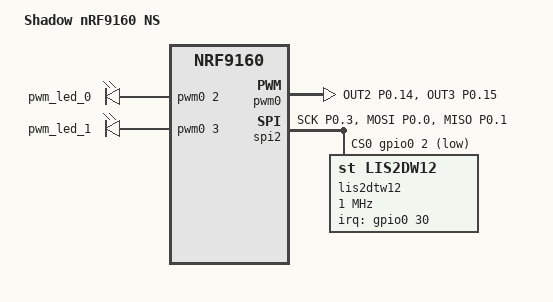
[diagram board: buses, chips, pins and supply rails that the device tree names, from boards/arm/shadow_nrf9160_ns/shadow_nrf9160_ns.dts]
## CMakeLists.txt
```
#
# Copyright (c) 2024 Nordic Semiconductor ASA
#
# SPDX-License-Identifier: LicenseRef-Nordic-5-Clause
#

cmake_minimum_required(VERSION 3.20.0)

find_package(Zephyr REQUIRED HINTS $ENV{ZEPHYR_BASE})
project("Ninja")

zephyr_cc_option(-Wno-main)

zephyr_include_directories(src/common)

target_sources(app PRIVATE src/main.c src/common/module_state.c src/common/heartbeat.c src/common/utils.c)

add_subdirectory(src/personalities)
add_subdirectory(src/modules/network)

# Optional modules
add_subdirectory_ifdef(CONFIG_APP_ENVIRONMENTAL src/modules/environmental)
add_subdirectory_ifdef(CONFIG_APP_MOTION src/modules/motion)
add_subdirectory_ifdef(CONFIG_APP_LED src/modules/led)
add_subdirectory_ifdef(CONFIG_LOCATION src/modules/location)
add_subdirectory_ifdef(CONFIG_APP_CLOUD_POST src/modules/cloud_post)
add_subdirectory_ifdef(CONFIG_APP_LOCATION_CLOUD src/modules/location_cloud)
```

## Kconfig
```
#
# Copyright (c) 2024 Nordic Semiconductor ASA
#
# SPDX-License-Identifier: LicenseRef-Nordic-5-Clause
#

menu "Asset Tracker Template"

rsource "src/Kconfig.main"
rsource "src/modules/network/Kconfig.network"
rsource "src/modules/location/Kconfig.location"
rsource "src/modules/led/Kconfig.led"
rsource "src/modules/environmental/Kconfig.environmental"
rsource "src/modules/motion/Kconfig.motion"
rsource "src/modules/cloud_post/Kconfig.cloud_post"
rsource "src/modules/location_cloud/Kconfig.location_cloud"

endmenu

menu "Zephyr Kernel"
source "Kconfig.zephyr"
endmenu
```

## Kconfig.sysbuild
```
#
# Copyright (c) 2025 Nordic Semiconductor ASA
#
# SPDX-License-Identifier: LicenseRef-Nordic-5-Clause
#

choice BOOTLOADER
	default BOOTLOADER_MCUBOOT if !BOARD_NATIVE_SIM && !BOARD_THINGY91_NRF9160_NS && !BOARD_SHADOW_NRF9160_NS
endchoice

# Skip the board's own MCUboot default (see thingy91/Kconfig.sysbuild) so the
# choice above falls through to BOOTLOADER_NONE for this target: no OTA, no
# swap slots, application runs directly after TF-M.
config THINGY91_NO_PREDEFINED_LAYOUT
	bool
	default y if BOARD_THINGY91_NRF9160_NS

config SECURE_BOOT_APPCORE
	default y if BOARD_NRF9151DK_NRF9151_NS

# Shared NSIB (b0) signing key for all ATT sysbuild targets. Sysbuild signs images with this
# key; b0 verifies them. Without this, sysbuild autogenerates a new debug key on each pristine
# build. Not for production.
config SECURE_BOOT_SIGNING_KEY_FILE
	default "$(ZEPHYR_NRF_MODULE_DIR)/boards/nordic/thingy91x/nsib_signing_key.pem" if SECURE_BOOT_APPCORE

config WIFI_NRF70
	default y if BOARD_THINGY91X_NRF9151_NS

choice WIFI_NRF70_OPER_MODES
	default WIFI_NRF70_SCAN_ONLY if BOARD_THINGY91X_NRF9151_NS
endchoice

config PARTITION_MANAGER
	default n

source "${ZEPHYR_BASE}/share/sysbuild/Kconfig"
```

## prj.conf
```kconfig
#
# Copyright (c) 2024 Nordic Semiconductor ASA
#
# SPDX-License-Identifier: LicenseRef-Nordic-5-Clause
#

CONFIG_APP_PERSONALITY_LOCATION_TEST=y
# CONFIG_APP_PERSONALITY_LOW_POWER_TEST=y
# CONFIG_APP_PERSONALITY_REPORTING=y
# CONFIG_APP_PERSONALITY_EMPTY=y

CONFIG_NCS_APPLICATION_BOOT_BANNER_STRING="Ninja"
CONFIG_NCS_SAMPLES_DEFAULTS=y
CONFIG_WARN_EXPERIMENTAL=n
CONFIG_RESET_ON_FATAL_ERROR=y
CONFIG_LOG_MODE_DEFERRED=y
CONFIG_LOG_BUFFER_SIZE=2048
CONFIG_LOG_PROCESS_THREAD_STACK_SIZE=1280
CONFIG_ZVFS_OPEN_MAX=20
CONFIG_PWM=y

# TF-M - Crypto is offloaded to the modem so the minimal profile is sufficient.
CONFIG_TFM_PROFILE_TYPE_MINIMAL=y
# Use CryptoCell hardware accelerator for PSA crypto operations.
CONFIG_PSA_CRYPTO_DRIVER_CC3XX=y
# Set these options to make TF-M fit within the allocated TF-M flash and RAM partitions.
CONFIG_TFM_PSA_FRAMEWORK_HAS_MM_IOVEC=y
CONFIG_PSA_WANT_ALG_CTR_DRBG=y

# TFM logging over uart0
CONFIG_TFM_LOG_LEVEL_SILENCE=y
# CONFIG_TFM_SECURE_UART0=n
# CONFIG_TFM_SECURE_UART_SHARE_INSTANCE=y
CONFIG_TFM_EXCEPTION_INFO_DUMP=y
# CONFIG_TFM_SPM_LOG_LEVEL_DEBUG=y

# Heap and stacks
CONFIG_MAIN_STACK_SIZE=2560
CONFIG_AT_MONITOR_HEAP_SIZE=2176
CONFIG_HEAP_MEM_POOL_SIZE=12288
CONFIG_HEAP_MEM_POOL_IGNORE_MIN=y
CONFIG_SYSTEM_WORKQUEUE_STACK_SIZE=1408

# Enable Networking
CONFIG_NETWORKING=y
CONFIG_NET_SOCKETS=y
CONFIG_NET_IPV4=y

# Enable Link Controller modules
CONFIG_LTE_LINK_CONTROL=y
CONFIG_LTE_LC_PDN_MODULE=y
CONFIG_LTE_LC_PSM_MODULE=y

# Modem library shared memory buffers
CONFIG_NRF_MODEM_LIB_SHMEM_TX_SIZE=4096
CONFIG_NRF_MODEM_LIB_SHMEM_RX_SIZE=4096

# Enable PSM (Power Saving Mode)
# CONFIG_LTE_LC_WORKQUEUE_STACK_SIZE=896
# CONFIG_LTE_PSM_REQ=y
# CONFIG_LTE_PROPRIETARY_PSM_REQ=y
# CONFIG_LTE_PSM_REQ_FORMAT_SECONDS=y
# Set Requested TAU to a large value. If the network does not support this value,
# it will typically use the largest supported value. This value should be larger
# than the default update interval (1 hour).
# CONFIG_LTE_PSM_REQ_RPTAU_SECONDS=7200

# Set the PSM Requested Active Time to a low number. Since we are constantly polling for
# downlink data, there is no need for prolonged active paging after the RRC connection release.
CONFIG_LTE_PSM_REQ_RAT_SECONDS=6

# Modem library
CONFIG_NRF_MODEM_LIB=y
CONFIG_MODEM_BATTERY=y
CONFIG_MODEM_INFO=y

CONFIG_HW_ID_LIBRARY=y
CONFIG_HW_ID_LIBRARY_SOURCE_DEVICE_ID=y

CONFIG_DATE_TIME=y
CONFIG_DATE_TIME_LOG_LEVEL_ERR=y

CONFIG_SETTINGS=y
CONFIG_SPI_NRFX_RAM_BUFFER_SIZE=32

# Needed for processing floats
CONFIG_PICOLIBC=y
CONFIG_FPU=y

# Zbus
CONFIG_ZBUS=y
CONFIG_ZBUS_MSG_SUBSCRIBER=y
CONFIG_ZBUS_MSG_SUBSCRIBER_NET_BUF_POOL_SIZE=64
CONFIG_ZBUS_CHANNEL_NAME=y

# Zephyr State Machine Framework
CONFIG_SMF=y
CONFIG_SMF_ANCESTOR_SUPPORT=y
CONFIG_SMF_INITIAL_TRANSITION=y

# Location
CONFIG_LOCATION=y
CONFIG_LOCATION_DATA_DETAILS=y
CONFIG_LOCATION_METHOD_GNSS=y
CONFIG_LOCATION_METHOD_CELLULAR=y
CONFIG_NRF_CLOUD=y
CONFIG_NRF_CLOUD_AGNSS=y
CONFIG_MODEM_INFO_ADD_NETWORK=y
CONFIG_LOCATION_SERVICE_EXTERNAL=y
CONFIG_LOCATION_REQUEST_DEFAULT_GNSS_TIMEOUT=600000
# CONFIG_LOCATION_REQUEST_DEFAULT_CELLULAR_TIMEOUT=30000
CONFIG_LOCATION_REQUEST_DEFAULT_TIMEOUT=600000
# CONFIG_LOCATION_REQUEST_DEFAULT_CELLULAR_CELL_COUNT=3
# CONFIG_LOCATION_REQUEST_DEFAULT_GNSS_ACCURACY_LOW=y
# CONFIG_LOCATION_REQUEST_DEFAULT_GNSS_VISIBILITY_DETECTION=y
# CONFIG_LTE_NETWORK_MODE_LTE_M_NBIOT_GPS=y
# CONFIG_LTE_NEIGHBOR_CELLS_MAX=8

# Extra Logging
CONFIG_APP_NETWORK_LOG_LEVEL_INF=y
CONFIG_APP_LOG_LEVEL_DBG=y
CONFIG_APP_CLOUD_POST_LOG_LEVEL_DBG=y
CONFIG_REST_CLIENT_LOG_LEVEL_OFF=y
# utils logging controlled via CONFIG_APP_LOG_LEVEL

# Task Watchdog
CONFIG_TASK_WDT=y
CONFIG_TASK_WDT_CHANNELS=8
CONFIG_TASK_WDT_MIN_TIMEOUT=10000

# System power management
CONFIG_PM=n

# Device power management
CONFIG_PM_DEVICE=y
CONFIG_PM_DEVICE_RUNTIME=y

CONFIG_APP_CLOUD_POST=y
CONFIG_APP_LOCATION_CLOUD=y
CONFIG_REST_CLIENT=y

# Managing LTE connection on demand
CONFIG_APP_NETWORK_SEARCH_NETWORK_ON_STARTUP=n
```

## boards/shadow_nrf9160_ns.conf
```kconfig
#
# Copyright (c) 2026 Nordic Semiconductor ASA
#
# SPDX-License-Identifier: LicenseRef-Nordic-5-Clause
#

# LIS2DTW12 accelerometer + temperature sensor on SPI2
# Temperature is read by the motion module instead of the environmental (BME680) module
CONFIG_SPI=y
CONFIG_SENSOR=y
CONFIG_APP_MOTION=y
CONFIG_LIS2DW12=y
CONFIG_APP_ENVIRONMENTAL=n

# LED module (PWM LEDs)
CONFIG_APP_LED=y

CONFIG_USE_SEGGER_RTT=y
CONFIG_CONSOLE=y
CONFIG_RTT_CONSOLE=y
# Place RTT control block in the dedicated SRAM_RTT region at 0x2000c568
CONFIG_SEGGER_RTT_SECTION_CUSTOM_DTS_REGION=y

# No MCUboot — direct boot from flash
CONFIG_BOOTLOADER_MCUBOOT=n

# App (non-secure) runs from slot0_ns_partition
CONFIG_FLASH_LOAD_OFFSET=0x10000
CONFIG_FLASH_LOAD_SIZE=0xee000

# Configure COEX0 for GNSS/LTE coexistence
# GNSS antenna is shared with LTE, LNA EN connected to COEX0
# Modem antenna library sends AT%XCOEX0 automatically after modem init
CONFIG_MODEM_ANTENNA=y
CONFIG_MODEM_ANTENNA_GNSS_ONBOARD=y
CONFIG_MODEM_ANTENNA_AT_COEX0="AT%XCOEX0=1,1,1570,1580"
```

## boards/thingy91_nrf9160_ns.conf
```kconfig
#
# Copyright (c) 2026 Nordic Semiconductor ASA
#
# SPDX-License-Identifier: LicenseRef-Nordic-5-Clause
#

# Environmental module (BME680 on I2C2)
CONFIG_APP_ENVIRONMENTAL=y
CONFIG_BME680=y
CONFIG_SENSOR=y

# LED module (RGB LED via PWM)
CONFIG_APP_LED=y

CONFIG_USE_SEGGER_RTT=y
CONFIG_CONSOLE=y
CONFIG_RTT_CONSOLE=y
# Place RTT control block in the dedicated SRAM_RTT region at 0x2000c568
# (locked address — avoids J-Link auto-detection failures on nRF91)
CONFIG_SEGGER_RTT_SECTION_CUSTOM_DTS_REGION=y

# No MCUboot — direct boot from flash
CONFIG_BOOTLOADER_MCUBOOT=n

# App (non-secure) runs from slot0_ns_partition: see boards overlay for layout
CONFIG_FLASH_LOAD_OFFSET=0x10000
CONFIG_FLASH_LOAD_SIZE=0xee000

CONFIG_APP_ENVIRONMENTAL_LOG_LEVEL_DBG=y
CONFIG_APP_SAMPLING_INTERVAL_SECONDS=1800
```

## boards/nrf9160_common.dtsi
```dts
/*
 * Copyright (c) 2026 Nordic Semiconductor ASA
 *
 * SPDX-License-Identifier: LicenseRef-Nordic-5-Clause
 */

/*
 * Common flash layout (no MCUboot / no OTA) for nRF9160-based boards.
 *
 * New layout (1 MiB):
 *   0x0000_0000  TF-M secure image      ( 64 kB, SPU-region aligned)
 *   0x0001_0000  Application (non-secure) image  (952 kB)
 *   0x000f_e000  Settings storage       (  8 kB)
 *
 * The S/NS boundary must align to the nRF9160 SPU region size (32 kB), so
 * the secure region is rounded up from TF-M's ~47.5 kB footprint to 64 kB.
 *
 * NOTE: Boards that inherit from an existing board dts with pre-defined
 * partitions must delete the old partition nodes BEFORE #include'ing this file.
 */
&flash0 {
	partitions {
		#address-cells = <1>;
		#size-cells = <1>;
		ranges;

		slot0_partition: partition@0 {
			compatible = "zephyr,mapped-partition";
			label = "image-0";
			reg = <0x00000000 0xfe000>;
			ranges = <0x0 0x00000000 0xfe000>;
			#address-cells = <1>;
			#size-cells = <1>;

			slot0_s_partition: partition@0 {
				compatible = "zephyr,mapped-partition";
				label = "image-0-secure";
				reg = <0x00000000 0x10000>;
			};

			slot0_ns_partition: partition@10000 {
				compatible = "zephyr,mapped-partition";
				label = "image-0-nonsecure";
				reg = <0x00010000 0xee000>;
			};
		};

		storage_partition: partition@fe000 {
			compatible = "zephyr,mapped-partition";
			label = "storage";
			reg = <0x000fe000 0x2000>;
		};
	};
};
```

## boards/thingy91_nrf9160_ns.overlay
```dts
/*
 * Copyright (c) 2026 Nordic Semiconductor ASA
 *
 * SPDX-License-Identifier: LicenseRef-Nordic-5-Clause
 */

/*
 * Delete the MCUboot/DFU partitions inherited from the thingy91 board
 * definition before installing the common no-MCUboot layout.
 */
/delete-node/ &boot_partition;
/delete-node/ &slot0_partition;
/delete-node/ &slot1_partition;
/delete-node/ &scratch_partition;

#include "nrf9160_common.dtsi"

/*
 * Carve out 2 KiB at the start of the application SRAM for the SEGGER RTT
 * control block and buffers at a fixed, known address (0x2000c568).
 * The RTT section is placed there via CONFIG_SEGGER_RTT_SECTION_CUSTOM_DTS_REGION
 * and the rtt_custom_section alias below.
 */
/delete-node/ &sram0_ns_app;

&sram0_ns {
	sram0_ns_app: sram0_ns@4d68 {
		reg = <0x4d68 0x33298>;
	};
};

/ {
	chosen {
		nordic,modem-trace-uart = &uart1;
	};

	rtt_sram: sram@2000c568 {
		compatible = "zephyr,memory-region", "mmio-sram";
		reg = <0x2000c568 0x800>;
		zephyr,memory-region = "SRAM_RTT";
	};

	aliases {
		rtt-custom-section = &rtt_sram;
	};
};

&bme680 {
	status = "okay";
};
```

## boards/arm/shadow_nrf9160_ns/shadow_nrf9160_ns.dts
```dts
/*
 * Copyright (c) 2026 Nordic Semiconductor ASA
 *
 * SPDX-License-Identifier: LicenseRef-Nordic-5-Clause
 */

/dts-v1/;
#include <arm/nordic/nrf9160_ns_sica.dtsi>
#include <common/nordic/nrf91_partition_sram.dtsi>
#include "../../nrf9160_common.dtsi"

/*
 * Carve out 2 KiB at the start of the application SRAM for the SEGGER RTT
 * control block and buffers at a fixed, known address (0x2000c568).
 */
/delete-node/ &sram0_ns_app;

&sram0_ns {
	sram0_ns_app: sram0_ns@4d68 {
		reg = <0x4d68 0x33298>;
	};
};

/ {
	model = "Shadow nRF9160 NS";
	compatible = "shadow,nrf9160-ns";

	chosen {
		zephyr,flash = &flash0;
		zephyr,sram = &sram0_ns_app;
		zephyr,code-partition = &slot0_ns_partition;
	};

	rtt_sram: sram@2000c568 {
		compatible = "zephyr,memory-region", "mmio-sram";
		reg = <0x2000c568 0x800>;
		zephyr,memory-region = "SRAM_RTT";
	};

	aliases {
		pwm-led0 = &pwm_led_0;
		pwm-led1 = &pwm_led_1;
		rtt-custom-section = &rtt_sram;
	};

	pwmleds {
		compatible = "pwm-leds";
		pwm_led_0: pwm_led_0 {
			pwms = <&pwm0 2 PWM_MSEC(20) PWM_POLARITY_INVERTED>;
		};
		pwm_led_1: pwm_led_1 {
			pwms = <&pwm0 3 PWM_MSEC(20) PWM_POLARITY_INVERTED>;
		};
	};
};

&pwm0 {
	status = "okay";
	pinctrl-0 = <&pwm0_default>;
	pinctrl-1 = <&pwm0_sleep>;
	pinctrl-names = "default", "sleep";
};

&spi2 {
	compatible = "nordic,nrf-spim";
	status = "okay";
	pinctrl-0 = <&spi2_default>;
	pinctrl-1 = <&spi2_sleep>;
	pinctrl-names = "default", "sleep";
	cs-gpios = <&gpio0 2 GPIO_ACTIVE_LOW>;
  // INT1: P0.30 (wake-up), INT2: P0.31 (DRDY)
  // https://www.st.com/resource/en/datasheet/lis2dw12.pdf
	lis2dtw12: lis2dtw12@0 {
		compatible = "st,lis2dw12";
		reg = <0>;
		spi-max-frequency = <1000000>;
		irq-gpios = <&gpio0 30 GPIO_ACTIVE_HIGH>;
		int-pin = <2>;
		odr = <25>; // Output data rate: 25 Hz
		range = <2>; // full-scale range: ±xg
		power-mode = <0>; // low-power mode
		low-noise;
		hp-filter-path;
	};
};

&gpio0 {
	status = "okay";
};

&gpiote {
	status = "okay";
};


&pinctrl {
	pwm0_default: pwm0_default {
		group1 {
			psels = <NRF_PSEL(PWM_OUT2, 0, 14)>,
				<NRF_PSEL(PWM_OUT3, 0, 15)>;
		};
	};
	pwm0_sleep: pwm0_sleep {
		group1 {
			psels = <NRF_PSEL(PWM_OUT2, 0, 14)>,
				<NRF_PSEL(PWM_OUT3, 0, 15)>;
			low-power-enable;
		};
	};
	spi2_default: spi2_default {
		group1 {
			psels = <NRF_PSEL(SPIM_SCK, 0, 3)>,
				<NRF_PSEL(SPIM_MOSI, 0, 0)>,
				<NRF_PSEL(SPIM_MISO, 0, 1)>;
		};
	};
	spi2_sleep: spi2_sleep {
		group1 {
			psels = <NRF_PSEL(SPIM_SCK, 0, 3)>,
				<NRF_PSEL(SPIM_MOSI, 0, 0)>,
				<NRF_PSEL(SPIM_MISO, 0, 1)>;
			low-power-enable;
		};
	};

};
```

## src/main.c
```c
/*
 * Copyright (c) 2025 Nordic Semiconductor ASA
 *
 * SPDX-License-Identifier: LicenseRef-Nordic-5-Clause
 *
 * Main entry point — thin dispatcher.
 *
 * Select the personality at build time via Kconfig:
 *   CONFIG_APP_PERSONALITY_REPORTING     — periodic cloud reporting
 *   CONFIG_APP_PERSONALITY_LOW_POWER_TEST — measure, post, disconnect, sleep
 *
 * Each personality owns its own SMF state machine.  main() just
 * feeds the watchdog, waits for zbus messages, and dispatches
 * them to the active personality.
 */

#include <stdint.h>
#include <zephyr/kernel.h>
#include <zephyr/logging/log.h>
#include <zephyr/smf.h>
#include <zephyr/task_wdt/task_wdt.h>
#include <zephyr/zbus/zbus.h>

#include "app_common.h"
#include "heartbeat.h"

/* ==================================================================
 * Personality selection — exactly one is compiled at build time.
 * Each header provides:
 *   - A _CHANNEL_LIST(X) macro listing subscribed channels
 *   - A _MAX_MSG_SIZE constant
 *   - A state object type with embedded smf_ctx
 *   - personality_init(state) / personality_process(state)
 * ================================================================== */

#if defined(CONFIG_APP_PERSONALITY_REPORTING)
#include "personalities/reporting.h"

#define PERSONALITY_CHANNEL_LIST REPORTING_CHANNEL_LIST
#define PERSONALITY_MAX_MSG_SIZE REPORTING_MAX_MSG_SIZE
#define PERSONALITY_STATE struct reporting_state
#define personality_init reporting_init
#define personality_process reporting_process

#elif defined(CONFIG_APP_PERSONALITY_LOW_POWER_TEST)
#include "personalities/low_power_test.h"

#define PERSONALITY_CHANNEL_LIST LOW_POWER_CHANNEL_LIST
#define PERSONALITY_MAX_MSG_SIZE LOW_POWER_MAX_MSG_SIZE
#define PERSONALITY_STATE struct low_power_state_object
#define personality_init low_power_init
#define personality_process low_power_process

#elif defined(CONFIG_APP_PERSONALITY_LOCATION_TEST)
#include "personalities/location_test.h"

#define PERSONALITY_CHANNEL_LIST LOCATION_TEST_CHANNEL_LIST
#define PERSONALITY_MAX_MSG_SIZE LOCATION_TEST_MAX_MSG_SIZE
#define PERSONALITY_STATE struct location_test_state_object
#define personality_init location_test_init
#define personality_process location_test_process

#elif defined(CONFIG_APP_PERSONALITY_EMPTY)
#include "personalities/empty.h"

#define PERSONALITY_CHANNEL_LIST EMPTY_CHANNEL_LIST
#define PERSONALITY_MAX_MSG_SIZE EMPTY_MAX_MSG_SIZE
#define PERSONALITY_STATE struct empty_state_object
#define personality_init empty_init
#define personality_process empty_process

#else
#error "No personality selected!"
#endif

LOG_MODULE_REGISTER(main, 4);

ZBUS_MSG_SUBSCRIBER_DEFINE(main_subscriber);

// Add main_subscriber as observer to all channels in the personality's list
#define ADD_OBSERVERS(_chan, _type) ZBUS_CHAN_ADD_OBS(_chan, main_subscriber, 0);

PERSONALITY_CHANNEL_LIST(ADD_OBSERVERS)

/* ── Watchdog ───────────────────────────────────────────────────── */

TASK_WDT_CALLBACK_DEFINE(task)

void main(void) {
    int err;
    TASK_WDT_TIMEOUTS(APP);
    TASK_WDT_ZBUS_TIMEOUT;
    static PERSONALITY_STATE state;

    LOG_INF("Main has started");

    personality_init(&state);
    heartbeat_start();

    TASK_WDT_ADD(task, wdt_timeout_ms)

    // Run the initial SMF transition (e.g. fire first sample)
    personality_process(&state);

    while (1) {
        TASK_WDT_FEED();
        err = zbus_sub_wait_msg(&main_subscriber, &state.chan, state.msg_buf, zbus_wait_ms);
        if (err == -ENOMSG) {
            continue;
        } else if (err) {
            LOG_ERR("zbus_sub_wait_msg, error: %d", err);
            SEND_FATAL_ERROR();
            return;
        }
        personality_process(&state);
    }
}
```
